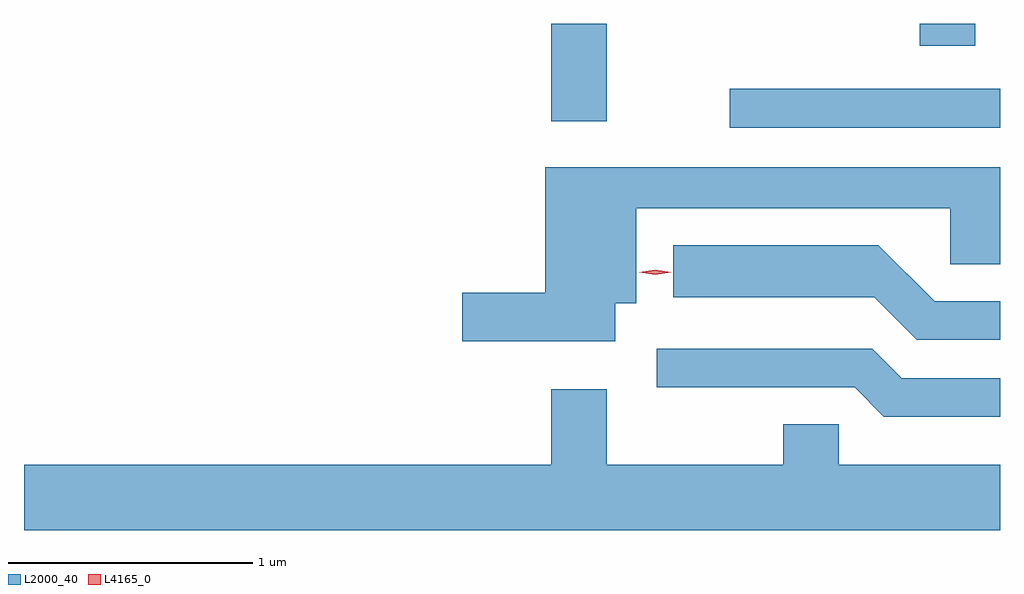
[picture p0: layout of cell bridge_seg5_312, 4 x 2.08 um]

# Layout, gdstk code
import gdstk
lib = gdstk.Library(unit=1e-6, precision=1e-09)
def R(c, l, rs):  # rectangles x0, y0, x1, y1
    for r in rs: c.add(gdstk.rectangle(r[:2], r[2:], *l))
def P(c, l, *ps):  # polygons
    for p in ps: c.add(gdstk.Polygon(p, *l))
L2000_40 = (2000, 40)
L4165_0 = (4165, 0)

bridge_seg5_312 = lib.new_cell('bridge_seg5_312')
R(bridge_seg5_312, L2000_40, [(799.913,1402.946,801.02,1403.104), (799.181,1402.971,799.409,1403.371), (800.691,1403.281,800.919,1403.371)])
P(bridge_seg5_312, L2000_40, [(799.444,1402.226),(799.529,1402.226),(799.529,1402.616),(800.816,1402.616),(800.816,1402.386),(801.02,1402.386),(801.02,1402.784),(799.156,1402.784),(799.156,1402.269),(798.816,1402.269),(798.816,1402.071),(799.444,1402.071)],
  [(801.02,1402.234),(800.752,1402.234),(800.522,1402.464),(799.681,1402.464),(799.681,1402.251),(800.504,1402.251),(800.679,1402.076),(801.02,1402.076)],
  [(801.02,1401.919),(800.617,1401.919),(800.497,1402.039),(799.613,1402.039),(799.613,1401.881),(800.424,1401.881),(800.544,1401.761),(801.02,1401.761)],
  [(801.02,1401.564),(800.359,1401.564),(800.359,1401.729),(800.131,1401.729),(800.131,1401.564),(799.409,1401.564),(799.409,1401.874),(799.181,1401.874),(799.181,1401.564),(797.02,1401.564),(797.02,1401.296),(801.02,1401.296)])
P(bridge_seg5_312, L4165_0, [(799.607,1402.343),(799.541,1402.352),(799.541,1402.353),(799.541,1402.353),(799.607,1402.363),(799.673,1402.353),(799.673,1402.353),(799.673,1402.352)])

lib.write_gds('bridge_seg5_312.gds')
